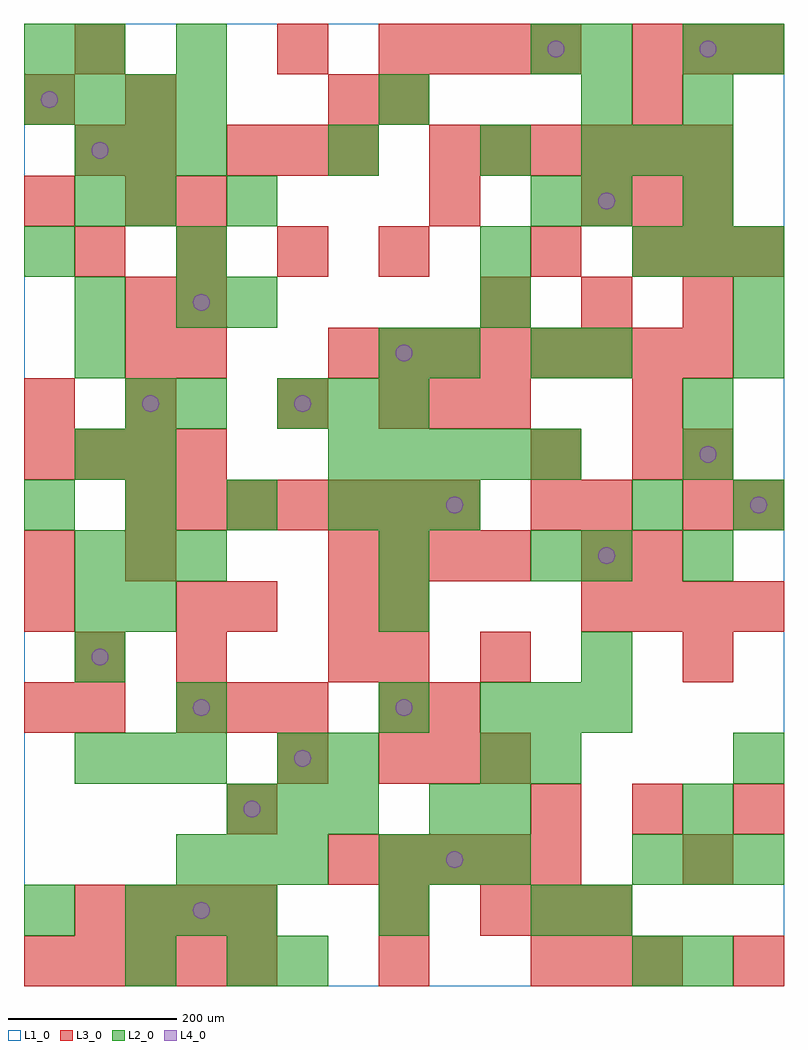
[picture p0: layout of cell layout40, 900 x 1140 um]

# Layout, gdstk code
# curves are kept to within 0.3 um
import gdstk
lib = gdstk.Library(unit=1e-6, precision=1e-09)
def R(c, l, rs):  # rectangles x0, y0, x1, y1
    for r in rs: c.add(gdstk.rectangle(r[:2], r[2:], *l))
def A(c, l, x, y, w, h, nx, ny, dx, dy):  # array of equal rectangles
    R(c, l, [(x+i*dx, y+j*dy, x+i*dx+w, y+j*dy+h) for i in range(nx) for j in range(ny)])
def P(c, l, *ps):  # polygons
    for p in ps: c.add(gdstk.Polygon(p, *l))
L1_0 = (1, 0)
L2_0 = (2, 0)
L3_0 = (3, 0)
L4_0 = (4, 0)

layout40 = lib.new_cell('layout40')
R(layout40, L1_0, [(0,0,900,1140)])
A(layout40, L2_0, 120, 60, 60, 60, 3, 1, 60, 0)
A(layout40, L2_0, 180, 120, 60, 60, 3, 1, 60, 0)
A(layout40, L2_0, 420, 120, 60, 60, 3, 1, 60, 0)
A(layout40, L2_0, 720, 120, 60, 60, 3, 2, 60, 720)
A(layout40, L2_0, 240, 180, 60, 60, 3, 1, 60, 0)
A(layout40, L2_0, 60, 240, 60, 60, 3, 2, 60, 240)
A(layout40, L2_0, 600, 240, 60, 60, 1, 3, 0, 240)
A(layout40, L2_0, 540, 300, 60, 60, 3, 1, 60, 0)
A(layout40, L2_0, 420, 420, 60, 60, 1, 3, 0, 60)
A(layout40, L2_0, 0, 540, 60, 60, 4, 1, 120, 0)
A(layout40, L2_0, 360, 600, 60, 60, 5, 1, 60, 0)
A(layout40, L2_0, 300, 660, 60, 60, 3, 1, 60, 0)
A(layout40, L2_0, 240, 780, 60, 60, 3, 1, 300, 0)
A(layout40, L2_0, 60, 960, 60, 60, 3, 1, 60, 0)
A(layout40, L2_0, 660, 960, 60, 60, 3, 1, 60, 0)
A(layout40, L2_0, 0, 1020, 60, 60, 4, 1, 60, 0)
R(layout40, L2_0, [(120,0,180,60), (240,0,300,60), (300,0,360,60), (720,0,780,60), (780,0,840,60), (0,60,60,120), (420,60,480,120), (600,60,660,120), (660,60,720,120), (480,180,540,240), (540,180,600,240), (780,180,840,240), (300,240,360,300), (360,240,420,300), (540,240,600,300), (840,240,900,300), (180,300,240,360), (420,300,480,360), (60,360,120,420), (660,360,720,420), (60,420,120,480), (120,420,180,480), (660,480,720,540), (780,480,840,540), (480,540,540,600), (720,540,780,600), (840,540,900,600), (60,600,120,660), (120,600,180,660), (780,600,840,660), (120,660,180,720), (180,660,240,720), (780,660,840,720), (60,720,120,780), (420,720,480,780), (480,720,540,780), (660,720,720,780), (840,720,900,780), (60,780,120,840), (180,780,240,840), (0,840,60,900), (180,840,240,900), (540,840,600,900), (60,900,120,960), (120,900,180,960), (240,900,300,960), (600,900,660,960), (660,900,720,960), (780,900,840,960), (360,960,420,1020), (540,960,600,1020), (420,1020,480,1080), (660,1020,720,1080), (780,1020,840,1080), (0,1080,60,1140), (60,1080,120,1140), (180,1080,240,1140), (600,1080,660,1140), (660,1080,720,1140), (780,1080,840,1140), (840,1080,900,1140)])
A(layout40, L3_0, 0, 0, 60, 60, 5, 1, 60, 0)
A(layout40, L3_0, 600, 0, 60, 60, 3, 1, 60, 0)
A(layout40, L3_0, 60, 60, 60, 60, 4, 1, 60, 0)
A(layout40, L3_0, 540, 60, 60, 60, 3, 1, 60, 0)
A(layout40, L3_0, 360, 120, 60, 60, 5, 1, 60, 0)
A(layout40, L3_0, 600, 180, 60, 60, 3, 1, 120, 0)
A(layout40, L3_0, 300, 240, 60, 60, 1, 3, 0, 420)
A(layout40, L3_0, 420, 240, 60, 60, 3, 2, 60, 420)
A(layout40, L3_0, 180, 300, 60, 60, 3, 1, 60, 0)
A(layout40, L3_0, 420, 300, 60, 60, 1, 3, 0, 60)
A(layout40, L3_0, 660, 420, 60, 60, 4, 1, 60, 0)
A(layout40, L3_0, 360, 480, 60, 60, 4, 1, 60, 0)
A(layout40, L3_0, 120, 540, 60, 60, 7, 1, 60, 0)
A(layout40, L3_0, 0, 600, 60, 60, 4, 1, 60, 0)
A(layout40, L3_0, 120, 660, 60, 60, 1, 3, 0, 60)
A(layout40, L3_0, 360, 720, 60, 60, 8, 1, 60, 0)
A(layout40, L3_0, 540, 780, 60, 60, 3, 1, 120, 0)
A(layout40, L3_0, 60, 840, 60, 60, 4, 1, 120, 0)
A(layout40, L3_0, 720, 840, 60, 60, 3, 2, 60, 240)
A(layout40, L3_0, 120, 900, 60, 60, 1, 3, 0, 60)
A(layout40, L3_0, 660, 900, 60, 60, 3, 1, 60, 0)
A(layout40, L3_0, 240, 960, 60, 60, 3, 1, 60, 0)
A(layout40, L3_0, 480, 960, 60, 60, 6, 1, 60, 0)
A(layout40, L3_0, 420, 1080, 60, 60, 4, 1, 60, 0)
R(layout40, L3_0, [(420,0,480,60), (840,0,900,60), (420,60,480,120), (780,120,840,180), (240,180,300,240), (0,300,60,360), (60,300,120,360), (480,300,540,360), (60,360,120,420), (180,360,240,420), (360,360,420,420), (540,360,600,420), (780,360,840,420), (0,420,60,480), (180,420,240,480), (240,420,300,480), (360,420,420,480), (0,480,60,540), (120,480,180,540), (660,480,720,540), (720,480,780,540), (600,540,660,600), (660,540,720,600), (780,540,840,600), (840,540,900,600), (600,600,660,660), (720,600,780,660), (780,600,840,660), (0,660,60,720), (720,660,780,720), (180,720,240,780), (180,780,240,840), (600,840,660,900), (0,900,60,960), (180,900,240,960), (480,900,540,960), (60,960,120,1020), (0,1020,60,1080), (360,1020,420,1080), (420,1020,480,1080), (720,1020,780,1080), (60,1080,120,1140)])
P(layout40, L4_0, [(40,1050),(39.239,1053.827),(37.071,1057.071),(33.827,1059.239),(30,1060),(26.173,1059.239),(22.929,1057.071),(20.761,1053.827),(20,1050),(20.761,1046.173),(22.929,1042.929),(26.173,1040.761),(30,1040),(33.827,1040.761),(37.071,1042.929),(39.239,1046.173)],
  [(100,390),(99.239,393.827),(97.071,397.071),(93.827,399.239),(90,400),(86.173,399.239),(82.929,397.071),(80.761,393.827),(80,390),(80.761,386.173),(82.929,382.929),(86.173,380.761),(90,380),(93.827,380.761),(97.071,382.929),(99.239,386.173)],
  [(100,990),(99.239,993.827),(97.071,997.071),(93.827,999.239),(90,1000),(86.173,999.239),(82.929,997.071),(80.761,993.827),(80,990),(80.761,986.173),(82.929,982.929),(86.173,980.761),(90,980),(93.827,980.761),(97.071,982.929),(99.239,986.173)],
  [(160,690),(159.239,693.827),(157.071,697.071),(153.827,699.239),(150,700),(146.173,699.239),(142.929,697.071),(140.761,693.827),(140,690),(140.761,686.173),(142.929,682.929),(146.173,680.761),(150,680),(153.827,680.761),(157.071,682.929),(159.239,686.173)],
  [(220,90),(219.239,93.827),(217.071,97.071),(213.827,99.239),(210,100),(206.173,99.239),(202.929,97.071),(200.761,93.827),(200,90),(200.761,86.173),(202.929,82.929),(206.173,80.761),(210,80),(213.827,80.761),(217.071,82.929),(219.239,86.173)],
  [(220,330),(219.239,333.827),(217.071,337.071),(213.827,339.239),(210,340),(206.173,339.239),(202.929,337.071),(200.761,333.827),(200,330),(200.761,326.173),(202.929,322.929),(206.173,320.761),(210,320),(213.827,320.761),(217.071,322.929),(219.239,326.173)],
  [(220,810),(219.239,813.827),(217.071,817.071),(213.827,819.239),(210,820),(206.173,819.239),(202.929,817.071),(200.761,813.827),(200,810),(200.761,806.173),(202.929,802.929),(206.173,800.761),(210,800),(213.827,800.761),(217.071,802.929),(219.239,806.173)],
  [(280,210),(279.239,213.827),(277.071,217.071),(273.827,219.239),(270,220),(266.173,219.239),(262.929,217.071),(260.761,213.827),(260,210),(260.761,206.173),(262.929,202.929),(266.173,200.761),(270,200),(273.827,200.761),(277.071,202.929),(279.239,206.173)],
  [(340,270),(339.239,273.827),(337.071,277.071),(333.827,279.239),(330,280),(326.173,279.239),(322.929,277.071),(320.761,273.827),(320,270),(320.761,266.173),(322.929,262.929),(326.173,260.761),(330,260),(333.827,260.761),(337.071,262.929),(339.239,266.173)],
  [(340,690),(339.239,693.827),(337.071,697.071),(333.827,699.239),(330,700),(326.173,699.239),(322.929,697.071),(320.761,693.827),(320,690),(320.761,686.173),(322.929,682.929),(326.173,680.761),(330,680),(333.827,680.761),(337.071,682.929),(339.239,686.173)],
  [(460,330),(459.239,333.827),(457.071,337.071),(453.827,339.239),(450,340),(446.173,339.239),(442.929,337.071),(440.761,333.827),(440,330),(440.761,326.173),(442.929,322.929),(446.173,320.761),(450,320),(453.827,320.761),(457.071,322.929),(459.239,326.173)],
  [(460,750),(459.239,753.827),(457.071,757.071),(453.827,759.239),(450,760),(446.173,759.239),(442.929,757.071),(440.761,753.827),(440,750),(440.761,746.173),(442.929,742.929),(446.173,740.761),(450,740),(453.827,740.761),(457.071,742.929),(459.239,746.173)],
  [(520,150),(519.239,153.827),(517.071,157.071),(513.827,159.239),(510,160),(506.173,159.239),(502.929,157.071),(500.761,153.827),(500,150),(500.761,146.173),(502.929,142.929),(506.173,140.761),(510,140),(513.827,140.761),(517.071,142.929),(519.239,146.173)],
  [(520,570),(519.239,573.827),(517.071,577.071),(513.827,579.239),(510,580),(506.173,579.239),(502.929,577.071),(500.761,573.827),(500,570),(500.761,566.173),(502.929,562.929),(506.173,560.761),(510,560),(513.827,560.761),(517.071,562.929),(519.239,566.173)],
  [(640,1110),(639.239,1113.827),(637.071,1117.071),(633.827,1119.239),(630,1120),(626.173,1119.239),(622.929,1117.071),(620.761,1113.827),(620,1110),(620.761,1106.173),(622.929,1102.929),(626.173,1100.761),(630,1100),(633.827,1100.761),(637.071,1102.929),(639.239,1106.173)],
  [(700,510),(699.239,513.827),(697.071,517.071),(693.827,519.239),(690,520),(686.173,519.239),(682.929,517.071),(680.761,513.827),(680,510),(680.761,506.173),(682.929,502.929),(686.173,500.761),(690,500),(693.827,500.761),(697.071,502.929),(699.239,506.173)],
  [(700,930),(699.239,933.827),(697.071,937.071),(693.827,939.239),(690,940),(686.173,939.239),(682.929,937.071),(680.761,933.827),(680,930),(680.761,926.173),(682.929,922.929),(686.173,920.761),(690,920),(693.827,920.761),(697.071,922.929),(699.239,926.173)],
  [(820,630),(819.239,633.827),(817.071,637.071),(813.827,639.239),(810,640),(806.173,639.239),(802.929,637.071),(800.761,633.827),(800,630),(800.761,626.173),(802.929,622.929),(806.173,620.761),(810,620),(813.827,620.761),(817.071,622.929),(819.239,626.173)],
  [(820,1110),(819.239,1113.827),(817.071,1117.071),(813.827,1119.239),(810,1120),(806.173,1119.239),(802.929,1117.071),(800.761,1113.827),(800,1110),(800.761,1106.173),(802.929,1102.929),(806.173,1100.761),(810,1100),(813.827,1100.761),(817.071,1102.929),(819.239,1106.173)],
  [(880,570),(879.239,573.827),(877.071,577.071),(873.827,579.239),(870,580),(866.173,579.239),(862.929,577.071),(860.761,573.827),(860,570),(860.761,566.173),(862.929,562.929),(866.173,560.761),(870,560),(873.827,560.761),(877.071,562.929),(879.239,566.173)])

lib.write_gds('layout40.gds')
